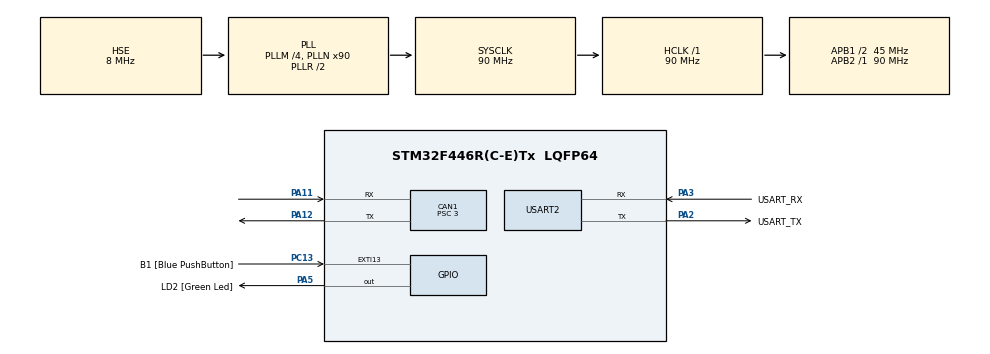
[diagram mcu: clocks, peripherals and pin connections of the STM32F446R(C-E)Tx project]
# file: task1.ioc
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CAN1.BS1=CAN_BS1_12TQ
CAN1.BS2=CAN_BS2_2TQ
CAN1.CalculateBaudRate=1000000
CAN1.CalculateTimeBit=1000
CAN1.CalculateTimeQuantum=66.66666666666666
CAN1.Mode=CAN_MODE_LOOPBACK
CAN1.Prescaler=3
Mcu.Family=STM32F4
Mcu.Name=STM32F446R(C-E)Tx
Mcu.Package=LQFP64
NVIC.CAN1_RX0_IRQn=true\:0\:0\:false\:false\:true\:true\:true\:true
NVIC.CAN1_RX1_IRQn=true\:0\:0\:false\:false\:true\:true\:true\:true
NVIC.CAN1_SCE_IRQn=true\:0\:0\:false\:false\:true\:true\:true\:true
NVIC.CAN1_TX_IRQn=true\:0\:0\:false\:false\:true\:true\:true\:true
NVIC.PriorityGroup=NVIC_PRIORITYGROUP_0
NVIC.TIM2_IRQn=true\:0\:0\:false\:false\:true\:true\:true\:true
PA11.Mode=CAN_Activate
PA11.Signal=CAN1_RX
PA12.Mode=CAN_Activate
PA12.Signal=CAN1_TX
PA13.GPIO_Label=TMS
PA13.Mode=Serial_Wire
PA13.Signal=SYS_JTMS-SWDIO
PA14.GPIO_Label=TCK
PA14.Mode=Serial_Wire
PA14.Signal=SYS_JTCK-SWCLK
PA2.GPIO_Label=USART_TX
PA2.Mode=Asynchronous
PA2.Signal=USART2_TX
PA3.GPIO_Label=USART_RX
PA3.Mode=Asynchronous
PA3.Signal=USART2_RX
PA5.GPIO_Label=LD2 [Green Led]
PA5.Signal=GPIO_Output
PB3.GPIO_Label=SWO
PB3.Signal=SYS_JTDO-SWO
PC13.GPIO_Label=B1 [Blue PushButton]
PC13.GPIO_ModeDefaultEXTI=GPIO_MODE_IT_FALLING
PC13.Signal=GPXTI13
PC14-OSC32_IN.Mode=LSE-External-Oscillator
PC14-OSC32_IN.Signal=RCC_OSC32_IN
PC15-OSC32_OUT.Mode=LSE-External-Oscillator
PC15-OSC32_OUT.Signal=RCC_OSC32_OUT
PH0-OSC_IN.Mode=HSE-External-Oscillator
PH0-OSC_IN.Signal=RCC_OSC_IN
PH1-OSC_OUT.Mode=HSE-External-Oscillator
PH1-OSC_OUT.Signal=RCC_OSC_OUT
ProjectManager.HeapSize=0x200
ProjectManager.StackSize=0x400
ProjectManager.TargetToolchain=Makefile
RCC.48MHZClocksFreq_Value=84000000
RCC.AHBFreq_Value=90000000
RCC.APB1CLKDivider=RCC_HCLK_DIV2
RCC.APB1Freq_Value=45000000
RCC.APB1TimFreq_Value=90000000
RCC.APB2Freq_Value=90000000
RCC.APB2TimFreq_Value=90000000
RCC.CortexFreq_Value=90000000
RCC.FLatency-AdvancedSettings=FLASH_LATENCY_2
RCC.HCLKFreq_Value=90000000
RCC.HSE_VALUE=8000000
RCC.HSI_VALUE=16000000
RCC.PLLM=4
RCC.PLLN=90
RCC.PLLP=RCC_PLLP_DIV4
RCC.PLLSourceVirtual=RCC_PLLSOURCE_HSE
RCC.SYSCLKFreq_VALUE=90000000
RCC.SYSCLKSource=RCC_SYSCLKSOURCE_PLLRCLK
RCC.USBFreq_Value=90000000
RCC.VCOOutputFreq_Value=180000000
TIM2.Period=899999
USART2.VirtualMode=VM_ASYNC
VP_TIM2_VS_ClockSourceINT.Mode=Internal
board=NUCLEO-F446RE

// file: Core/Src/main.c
/* USER CODE BEGIN Header */
/**
  ******************************************************************************
  * @file           : main.c
  * @brief          : Main program body
  ******************************************************************************
  * @attention
  *
  * Copyright (c) 2024 STMicroelectronics.
  * All rights reserved.
  *
  * This software is licensed under terms that can be found in the LICENSE file
  * in the root directory of this software component.
  * If no LICENSE file comes with this software, it is provided AS-IS.
  *
  ******************************************************************************
  */
/* USER CODE END Header */
#include "main.h"
#include "can.h"
#include "tim.h"
#include "usart.h"
#include "gpio.h"
/* USER CODE BEGIN Includes */
#include "mcb.h"

/* USER CODE END Includes */

/* USER CODE BEGIN PV */
CAN_TxHeaderTypeDef TxHeader;
uint32_t TxMailbox;
uint8_t buffer_tx[8]={0};
uint8_t buffer_rx[8]={0};
double static air_neg_cmd_is_active = 0.0, air_neg_is_closed = 0.0, air_neg_stg_mech_state_signal_is_active = 0.0,
                  air_pos_cmd_is_active = 0.0, air_pos_is_closed = 0.0, air_pos_stg_mech_state_signal_is_active = 0.0,
                  ams_err_is_active = 0.0, dcbus_is_over60_v = 0.0, dcbus_prech_rly_cmd_is_active = 0.0,
                  dcbus_prech_rly_is_closed = 0.0, imd_err_is_active = 0.0, imp_dcbus_is_active = 0.0, imp_any_is_active = 0.0,
                  imp_hv_relays_signals_is_active = 0.0, tsal_green_is_active = 1;

/* USER CODE END PV */

void SystemClock_Config(void);

int main(void)
{

  /* MCU Configuration--------------------------------------------------------*/

  /* Reset of all peripherals, Initializes the Flash interface and the Systick. */
  HAL_Init();

  /* Configure the system clock */
  SystemClock_Config();

  /* Initialize all configured peripherals */
  MX_GPIO_Init();
  MX_CAN1_Init();
  MX_TIM2_Init();
  MX_USART2_UART_Init();
  /* USER CODE BEGIN 2 */

  HAL_TIM_Base_Start_IT(&htim2);

  /* USER CODE END 2 */

  /* Infinite loop */
  while (1)
  {

  }
}

void SystemClock_Config(void)
{
  RCC_OscInitTypeDef RCC_OscInitStruct = {0};
  RCC_ClkInitTypeDef RCC_ClkInitStruct = {0};

  /** Configure the main internal regulator output voltage
  */
  __HAL_RCC_PWR_CLK_ENABLE();
  __HAL_PWR_VOLTAGESCALING_CONFIG(PWR_REGULATOR_VOLTAGE_SCALE3);

  /** Initializes the RCC Oscillators according to the specified parameters
  * in the RCC_OscInitTypeDef structure.
  */
  RCC_OscInitStruct.OscillatorType = RCC_OSCILLATORTYPE_HSE;
  RCC_OscInitStruct.HSEState = RCC_HSE_ON;
  RCC_OscInitStruct.PLL.PLLState = RCC_PLL_ON;
  RCC_OscInitStruct.PLL.PLLSource = RCC_PLLSOURCE_HSE;
  RCC_OscInitStruct.PLL.PLLM = 4;
  RCC_OscInitStruct.PLL.PLLN = 90;
  RCC_OscInitStruct.PLL.PLLP = RCC_PLLP_DIV4;
  RCC_OscInitStruct.PLL.PLLQ = 2;
  RCC_OscInitStruct.PLL.PLLR = 2;
  if (HAL_RCC_OscConfig(&RCC_OscInitStruct) != HAL_OK)
  {
    Error_Handler();
  }

  /** Initializes the CPU, AHB and APB buses clocks
  */
  RCC_ClkInitStruct.ClockType = RCC_CLOCKTYPE_HCLK|RCC_CLOCKTYPE_SYSCLK
                              |RCC_CLOCKTYPE_PCLK1|RCC_CLOCKTYPE_PCLK2;
  RCC_ClkInitStruct.SYSCLKSource = RCC_SYSCLKSOURCE_PLLRCLK;
  RCC_ClkInitStruct.AHBCLKDivider = RCC_SYSCLK_DIV1;
  RCC_ClkInitStruct.APB1CLKDivider = RCC_HCLK_DIV2;
  RCC_ClkInitStruct.APB2CLKDivider = RCC_HCLK_DIV1;

  if (HAL_RCC_ClockConfig(&RCC_ClkInitStruct, FLASH_LATENCY_2) != HAL_OK)
  {
    Error_Handler();
  }
}

/* USER CODE BEGIN 4 */

void HAL_TIM_PeriodElapsedCallback(TIM_HandleTypeDef *htim){
  if(htim->Instance==TIM2){
    struct mcb_tlb_bat_signals_status_t static tlb_signals;
    mcb_tlb_bat_signals_status_init(&tlb_signals);

    tlb_signals.air_neg_cmd_is_active = mcb_tlb_bat_signals_status_air_neg_cmd_is_active_encode(air_neg_cmd_is_active);
    tlb_signals.air_neg_is_closed     = mcb_tlb_bat_signals_status_air_neg_is_closed_encode(air_neg_is_closed);
    tlb_signals.air_neg_stg_mech_state_signal_is_active =mcb_tlb_bat_signals_status_air_neg_stg_mech_state_signal_is_active_encode(air_neg_stg_mech_state_signal_is_active);
    tlb_signals.air_pos_cmd_is_active = mcb_tlb_bat_signals_status_air_pos_cmd_is_active_encode(air_pos_cmd_is_active);
    tlb_signals.air_pos_is_closed     = mcb_tlb_bat_signals_status_air_pos_is_closed_encode(air_pos_is_closed);
    tlb_signals.air_pos_stg_mech_state_signal_is_active =mcb_tlb_bat_signals_status_air_pos_stg_mech_state_signal_is_active_encode(air_pos_stg_mech_state_signal_is_active);
    tlb_signals.ams_err_is_active = mcb_tlb_bat_signals_status_ams_err_is_active_encode(ams_err_is_active);
    tlb_signals.dcbus_is_over60_v = mcb_tlb_bat_signals_status_dcbus_is_over60_v_encode(dcbus_is_over60_v);
    tlb_signals.dcbus_prech_rly_cmd_is_active =mcb_tlb_bat_signals_status_dcbus_prech_rly_cmd_is_active_encode(dcbus_prech_rly_cmd_is_active);
    tlb_signals.dcbus_prech_rly_is_closed =mcb_tlb_bat_signals_status_dcbus_prech_rly_is_closed_encode(dcbus_prech_rly_is_closed);
    tlb_signals.tsal_green_is_active = mcb_tlb_bat_signals_status_tsal_green_is_active_encode(tsal_green_is_active);
    tlb_signals.imd_err_is_active = mcb_tlb_bat_signals_status_imd_err_is_active_encode(imd_err_is_active);
    tlb_signals.imp_any_is_active = mcb_tlb_bat_signals_status_imp_any_is_active_encode(imp_any_is_active);
    tlb_signals.imp_dcbus_is_active =mcb_tlb_bat_signals_status_imp_dcbus_is_active_encode(imp_dcbus_is_active);
    //tlb_signals.imp_hv_relays_signals_is_active =mcb_tlb_bat_signals_status_imp_hv_relays_signals_is_active_encode(imp_hv_relays_signals_is_active);

    mcb_tlb_bat_signals_status_pack(buffer_tx,&tlb_signals,MCB_TLB_BAT_SIGNALS_STATUS_LENGTH);
    TxHeader.DLC=sizeof(buffer_tx);
    TxHeader.StdId=MCB_TLB_BAT_SIGNALS_STATUS_FRAME_ID;

    can_send(&hcan1,buffer_tx,&TxHeader,CAN_TX_MAILBOX0) != HAL_OK;

  }
}
void HAL_CAN_RxFifo0MsgPendingCallback(CAN_HandleTypeDef *hcan) {
    if (hcan->Instance == CAN1) {
        CAN_RxHeaderTypeDef RxHeader;
        if (HAL_CAN_GetRxMessage(hcan, CAN_RX_FIFO0, &RxHeader, buffer_rx) == HAL_OK) {
            if (RxHeader.StdId == MCB_TLB_BAT_SIGNALS_STATUS_FRAME_ID && RxHeader.DLC == MCB_TLB_BAT_SIGNALS_STATUS_LENGTH) {
                struct mcb_tlb_bat_signals_status_t tlb_signals_rx;
                if (mcb_tlb_bat_signals_status_unpack(&tlb_signals_rx, &buffer_rx, RxHeader.DLC) == 0) {
                    double air_pos_cmd_is_active = mcb_tlb_bat_signals_status_air_pos_cmd_is_active_decode(tlb_signals_rx.air_pos_cmd_is_active);
                    double air_pos_is_closed = mcb_tlb_bat_signals_status_air_pos_is_closed_decode(tlb_signals_rx.air_pos_is_closed);
                    double air_neg_cmd_is_active = mcb_tlb_bat_signals_status_air_neg_cmd_is_active_decode(tlb_signals_rx.air_neg_cmd_is_active);
                    double air_neg_is_closed = mcb_tlb_bat_signals_status_air_neg_is_closed_decode(tlb_signals_rx.air_neg_is_closed);
                    double dcbus_prech_rly_cmd_is_active = mcb_tlb_bat_signals_status_dcbus_prech_rly_cmd_is_active_decode(tlb_signals_rx.dcbus_prech_rly_cmd_is_active);
                    double dcbus_prech_rly_is_closed = mcb_tlb_bat_signals_status_dcbus_prech_rly_is_closed_decode(tlb_signals_rx.dcbus_prech_rly_is_closed);
                    double ams_err_is_active = mcb_tlb_bat_signals_status_ams_err_is_active_decode(tlb_signals_rx.ams_err_is_active);
                    double imd_err_is_active = mcb_tlb_bat_signals_status_imd_err_is_active_decode(tlb_signals_rx.imd_err_is_active);
                    double tsal_green_is_active = mcb_tlb_bat_signals_status_tsal_green_is_active_decode(tlb_signals_rx.tsal_green_is_active);
                    double dcbus_is_over60_v = mcb_tlb_bat_signals_status_dcbus_is_over60_v_decode(tlb_signals_rx.dcbus_is_over60_v);
                    double imp_any_is_active = mcb_tlb_bat_signals_status_imp_any_is_active_decode(tlb_signals_rx.imp_any_is_active);
                    double imp_hv_relays_state_is_active = mcb_tlb_bat_signals_status_imp_hv_relays_state_is_active_decode(tlb_signals_rx.imp_hv_relays_state_is_active);
                    double air_pos_stg_mech_state_signal_is_active = mcb_tlb_bat_signals_status_air_pos_stg_mech_state_signal_is_active_decode(tlb_signals_rx.air_pos_stg_mech_state_signal_is_active);
                    double air_neg_stg_mech_state_signal_is_active = mcb_tlb_bat_signals_status_air_neg_stg_mech_state_signal_is_active_decode(tlb_signals_rx.air_neg_stg_mech_state_signal_is_active);
                    double imp_dcbus_is_active = mcb_tlb_bat_signals_status_imp_dcbus_is_active_decode(tlb_signals_rx.imp_dcbus_is_active);

                    // Comparing buffer_tx and buffer_rx to check if transmission was successful
                    int buffer_match = 1; // Initialize match flag
                    for (int i = 0; i < RxHeader.DLC; i++) {
                        if (buffer_tx[i] != buffer_rx[i]) {
                            buffer_match = 0; // Mismatch detected
                            break;
                        }
                    }
                    // Handle buffer match or mismatch
                    if (buffer_match) {
                        HAL_GPIO_WritePin(GPIOA, GPIO_PIN_5, GPIO_PIN_SET); // Turn LED ON if match
                    } else {
                        HAL_GPIO_WritePin(GPIOA, GPIO_PIN_5, GPIO_PIN_RESET); // Turn LED OFF if mismatch
                    }
                }
            }
        }
    }
}

void HAL_CAN_RxFifo1MsgPendingCallback(CAN_HandleTypeDef *);
void HAL_CAN_RxFifo0FullCallback(CAN_HandleTypeDef *);
void HAL_CAN_RxFifo1FullCallback(CAN_HandleTypeDef *);
void HAL_CAN_TxMailbox0CompleteCallback(CAN_HandleTypeDef *);
void HAL_CAN_TxMailbox1CompleteCallback(CAN_HandleTypeDef *);
void HAL_CAN_TxMailbox2CompleteCallback(CAN_HandleTypeDef *);

void CAN_ErrorHandler(CAN_HandleTypeDef *hcan) {

    char buf[20];
    uint32_t error = HAL_CAN_GetError(hcan);

    #define tmp_printf(X)                                           \
    do {                                                                   \
        HAL_UART_Transmit(&huart2, (uint8_t *)(X), strlen(X), HAL_MAX_DELAY); \
        HAL_UART_Transmit(&huart2, (uint8_t *)("\r\n"), strlen("\r\n"), HAL_MAX_DELAY); \
    } while (0)

    if (error & HAL_CAN_ERROR_EWG)
        tmp_printf("Protocol Error Warning");
    if (error & HAL_CAN_ERROR_EPV)
        tmp_printf("Error Passive");
    if (error & HAL_CAN_ERROR_BOF)
        tmp_printf("Bus-off Error");
    if (error & HAL_CAN_ERROR_STF)
        tmp_printf("Stuff Error");
    if (error & HAL_CAN_ERROR_FOR)
        tmp_printf("Form Error");
    if (error & HAL_CAN_ERROR_ACK)
        tmp_printf("ACK Error");
    if (error & HAL_CAN_ERROR_BR)
        tmp_printf("Bit Recessive Error");
    if (error & HAL_CAN_ERROR_BD)
        tmp_printf("Bit Dominant Error");
    if (error & HAL_CAN_ERROR_CRC)
        tmp_printf("CRC Error");
    if (error & HAL_CAN_ERROR_RX_FOV0)
        tmp_printf("FIFO0 Overrun");
    if (error & HAL_CAN_ERROR_RX_FOV1)
        tmp_printf("FIFO1 Overrun");
    if (error & HAL_CAN_ERROR_TX_ALST0)
        tmp_printf("Mailbox 0 TX failure (arbitration lost)");
    if (error & HAL_CAN_ERROR_TX_TERR0)
        tmp_printf("Mailbox 0 TX failure (tx error)");
    if (error & HAL_CAN_ERROR_TX_ALST1)
        tmp_printf("Mailbox 1 TX failure (arbitration lost)");
    if (error & HAL_CAN_ERROR_TX_TERR1)
        tmp_printf("Mailbox 1 TX failure (tx error)");
    if (error & HAL_CAN_ERROR_TX_ALST2)
        tmp_printf("Mailbox 2 TX failure (arbitration lost)");
    if (error & HAL_CAN_ERROR_TX_TERR2)
        tmp_printf("Mailbox 2 TX failure (tx error)");
    if (error & HAL_CAN_ERROR_TIMEOUT)
        tmp_printf("Timeout Error");
    if (error & HAL_CAN_ERROR_NOT_INITIALIZED)
        tmp_printf("Peripheral not initialized");
    if (error & HAL_CAN_ERROR_NOT_READY)
        tmp_printf("Peripheral not ready");
    if (error & HAL_CAN_ERROR_NOT_STARTED)
        tmp_printf("Peripheral not strated");
    if (error & HAL_CAN_ERROR_PARAM)
        tmp_printf("Parameter Error");

    uint16_t rec = (uint16_t)((hcan->Instance->ESR && CAN_ESR_REC_Msk) >> CAN_ESR_REC_Pos);
    uint16_t tec = (uint16_t)((hcan->Instance->ESR && CAN_ESR_TEC_Msk) >> CAN_ESR_TEC_Pos);

    sprintf(buf,"rec %u, tec %u",rec,tec);
    tmp_printf(buf);

    HAL_CAN_ResetError(hcan);
}

void HAL_CAN_ErrorCallback(CAN_HandleTypeDef *hcan) {
  if(hcan == &hcan1){
    CAN_ErrorHandler(hcan);
  }
}

/* USER CODE END 4 */

void Error_Handler(void)
{
  __disable_irq();
  while (1)
  {
  }
}
